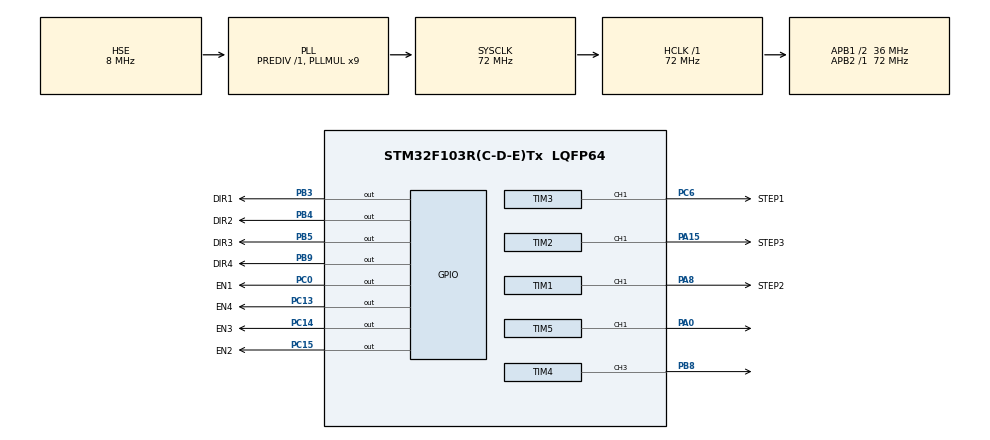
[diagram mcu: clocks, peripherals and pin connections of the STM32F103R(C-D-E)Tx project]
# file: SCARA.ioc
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Mcu.Family=STM32F1
TIM2.Channel-Output\ Compare1\ CH1=TIM_CHANNEL_1
VP_TIM5_VS_ClockSourceINT.Mode=Internal
PC0.GPIO_Label=EN1
PC6.GPIO_Label=STEP1
NVIC.TIM1_UP_IRQn=true\:0\:0\:false\:false\:true\:true\:true
TIM3.Pulse-Output\ Compare1\ CH1=700
PC15-OSC32_OUT.GPIO_Label=EN2
RCC.SYSCLKSource=RCC_SYSCLKSOURCE_PLLCLK
ProjectManager.StackSize=0x400
PD1-OSC_OUT.Signal=RCC_OSC_OUT
PA15.GPIO_Label=STEP3
TIM1.Prescaler=15
RCC.HCLKFreq_Value=72000000
RCC.APB2TimFreq_Value=72000000
RCC.AHBFreq_Value=72000000
TIM4.Pulse-Output\ Compare3\ CH3=700
RCC.PLLMUL=RCC_PLL_MUL9
PA14.Mode=Serial_Wire
TIM3.Prescaler=15
NVIC.TIM2_IRQn=true\:0\:0\:false\:false\:true\:true\:true
PA8.Signal=S_TIM1_CH1
SH.S_TIM3_CH1.0=TIM3_CH1,Output Compare1 CH1
VP_TIM1_VS_ClockSourceINT.Mode=Internal
PB9.Signal=GPIO_Output
Mcu.Package=LQFP64
TIM2.Prescaler=15
TIM2.OCMode_1=TIM_OCMODE_TOGGLE
PA15.Signal=S_TIM2_CH1_ETR
PB5.GPIO_Label=DIR3
RCC.APB1TimFreq_Value=72000000
SH.S_TIM5_CH1.0=TIM5_CH1,PWM Generation1 CH1
PC14-OSC32_IN.GPIO_Label=EN3
VP_TIM3_VS_ClockSourceINT.Mode=Internal
PB4.Signal=GPIO_Output
PB3.GPIO_Label=DIR1
RCC.PLLSourceVirtual=RCC_PLLSOURCE_HSE
PD1-OSC_OUT.Mode=HSE-External-Oscillator
PB9.GPIO_Label=DIR4
PC6.Signal=S_TIM3_CH1
TIM1.OCMode_1=TIM_OCMODE_TOGGLE
PC13-TAMPER-RTC.Signal=GPIO_Output
PD0-OSC_IN.Signal=RCC_OSC_IN
PC0.Signal=GPIO_Output
RCC.APB1CLKDivider=RCC_HCLK_DIV2
PC14-OSC32_IN.Signal=GPIO_Output
TIM5.AutoReloadPreload=TIM_AUTORELOAD_PRELOAD_ENABLE
PA0-WKUP.Signal=S_TIM5_CH1
PA13.Signal=SYS_JTMS-SWDIO
TIM4.Channel-Output\ Compare3\ CH3=TIM_CHANNEL_3
PA8.GPIO_Label=STEP2
SH.S_TIM1_CH1.0=TIM1_CH1,Output Compare1 CH1
ProjectManager.TargetToolchain=MDK-ARM V5.27
SH.S_TIM4_CH3.0=TIM4_CH3,Output Compare3 CH3
TIM4.OCMode_3=TIM_OCMODE_TOGGLE
RCC.USBFreq_Value=72000000
TIM4.Prescaler=15
PC15-OSC32_OUT.Signal=GPIO_Output
TIM3.Channel-Output\ Compare1\ CH1=TIM_CHANNEL_1
PD0-OSC_IN.Mode=HSE-External-Oscillator
NVIC.TIM1_TRG_COM_IRQn=true\:0\:0\:false\:false\:true\:true\:true
board=custom
PC13-TAMPER-RTC.GPIO_Label=EN4
NVIC.TIM3_IRQn=true\:0\:0\:false\:false\:true\:true\:true
RCC.APB2Freq_Value=72000000
PB4.GPIO_Label=DIR2
TIM3.OCMode_1=TIM_OCMODE_TOGGLE
VP_TIM2_VS_ClockSourceINT.Mode=Internal
TIM2.Pulse-Output\ Compare1\ CH1=700
PA13.Mode=Serial_Wire
Mcu.Name=STM32F103R(C-D-E)Tx
NVIC.TIM1_CC_IRQn=true\:0\:0\:false\:false\:true\:true\:true
PB3.Signal=GPIO_Output
RCC.SYSCLKFreq_VALUE=72000000
PB5.Signal=GPIO_Output
TIM5.Prescaler=7199
SH.S_TIM2_CH1_ETR.0=TIM2_CH1,Output Compare1 CH1
TIM5.Channel-PWM\ Generation1\ CH1=TIM_CHANNEL_1
PA14.Signal=SYS_JTCK-SWCLK
NVIC.TIM1_BRK_IRQn=true\:0\:0\:false\:false\:true\:true\:true
ProjectManager.HeapSize=0x200
TIM1.Channel-Output\ Compare1\ CH1=TIM_CHANNEL_1
TIM1.Pulse-Output\ Compare1\ CH1=700
VP_TIM4_VS_ClockSourceINT.Mode=Internal
NVIC.PriorityGroup=NVIC_PRIORITYGROUP_4
PB8.Signal=S_TIM4_CH3
TIM5.Period=200
NVIC.TIM4_IRQn=true\:0\:0\:false\:false\:true\:true\:true
RCC.APB1Freq_Value=36000000

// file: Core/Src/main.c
/* USER CODE BEGIN Header */
/**
  ******************************************************************************
  * @file           : main.c
  * @brief          : Main program body
  ******************************************************************************
  * @attention
  *
  * <h2><center>&copy; Copyright (c) 2020 STMicroelectronics.
  * All rights reserved.</center></h2>
  *
  * This software component is licensed by ST under BSD 3-Clause license,
  * the "License"; You may not use this file except in compliance with the
  * License. You may obtain a copy of the License at:
  *                        opensource.org/licenses/BSD-3-Clause
  *
  ******************************************************************************
  */
/* USER CODE END Header */
#include "main.h"
#include "tim.h"
#include "gpio.h"

/* USER CODE BEGIN Includes */
#include "motor.h"
#include "robot.h"
/* USER CODE END Includes */

/* USER CODE BEGIN PM */
int stop_flag1;//电机1停止标志位
int stop_flag2;//电机2停止标志位
int stop_flag3;//电机3停止标志位
/* USER CODE END PM */

/* USER CODE BEGIN PV */
float fre[ACCELERATED_SPEED_LENGTH1]; //数组存储加速过程中每一步的频率
unsigned short period[ACCELERATED_SPEED_LENGTH1]; //数组储存加速过程中每一步定时器的自动装载值

float fre2[ACCELERATED_SPEED_LENGTH2]; //数组存储加速过程中每一步的频率
unsigned short period2[ACCELERATED_SPEED_LENGTH2]; //数组储存加速过程中每一步定时器的自动装载值

float fre3[ACCELERATED_SPEED_LENGTH2]; //数组存储加速过程中每一步的频率
unsigned short period3[ACCELERATED_SPEED_LENGTH2]; //数组储存加速过程中每一步定时器的自动装载值
/* USER CODE END PV */

void SystemClock_Config(void);

/* USER CODE BEGIN 0 */
void steering_gear(TIM_HandleTypeDef htimx,int TIM_CHANNEL,int y);
void robot_arm(float  x,float y);
void motor_result(float x,float y);
void CalculateSModelLine(float fre_[], unsigned short period_[], float len, float fre_max, float fre_min, float flexible);
void move(float x,float y);
void move0(float x,float y);

void move(float x,float y)
{

	motor_result(x,y);
	CalculateSModelLine(fre,period,ACCELERATED_SPEED_LENGTH1,FRE_MAX,FRE_MIN,4);
	CalculateSModelLine(fre2,period2,ACCELERATED_SPEED_LENGTH2,FRE_MAX,FRE_MIN,4);
	CalculateSModelLine(fre3,period2,ACCELERATED_SPEED_LENGTH2,FRE_MAX,FRE_MIN,4);
	HAL_GPIO_WritePin(GPIOC, EN4_Pin|EN3_Pin|EN2_Pin|EN1_Pin, GPIO_PIN_RESET);
// HAL_GPIO_WritePin(GPIOB, DIR4_Pin, GPIO_PIN_SET);//DIR1 Z轴低电平向无电机一侧转动
// HAL_GPIO_WritePin(GPIOB, DIR2_Pin, GPIO_PIN_SET);//DIR2 大臂高电平逆时针转动
// HAL_GPIO_WritePin(GPIOB, DIR3_Pin, GPIO_PIN_SET);//DIR3 小臂高电平逆时针转动
	//CalculateSModelLine(fre,period,ACCELERATED_SPEED_LENGTH,FRE_MAX,FRE_MIN,4);
  HAL_TIM_Base_Start(&htim1);//启动定时器
	HAL_TIM_Base_Start(&htim2);//启动定时器
	HAL_TIM_Base_Start(&htim3);//启动定时器
	HAL_TIM_Base_Start(&htim4);//启动定时器
	HAL_TIM_OC_Start_IT(&htim1, TIM_CHANNEL_1);//启动定时器8通道1比较输出中断
	HAL_TIM_OC_Start_IT(&htim2, TIM_CHANNEL_1);//启动定时器8通道2比较输出中断
	HAL_TIM_OC_Start_IT(&htim3, TIM_CHANNEL_1);//启动定时器8通道1比较输出中断
	HAL_TIM_OC_Start_IT(&htim4, TIM_CHANNEL_3);//启动定时器8通道2比较输出中断
  HAL_Delay(3000);
}

/* USER CODE END 0 */

int main(void)
{

  /* MCU Configuration--------------------------------------------------------*/

  /* Reset of all peripherals, Initializes the Flash interface and the Systick. */
  HAL_Init();

  /* Configure the system clock */
  SystemClock_Config();

  /* USER CODE BEGIN SysInit */
// HAL_GPIO_WritePin(GPIOB, DIR4_Pin, GPIO_PIN_SET);//DIR1 Z轴低电平向无电机一侧转动
// HAL_GPIO_WritePin(GPIOB, DIR2_Pin, GPIO_PIN_SET);//DIR2 大臂高电平逆时针转动
// HAL_GPIO_WritePin(GPIOB, DIR3_Pin, GPIO_PIN_SET);//DIR3 小臂高电平逆时针转动
  /* USER CODE END SysInit */

  /* Initialize all configured peripherals */
  MX_GPIO_Init();
  MX_TIM1_Init();
  MX_TIM2_Init();
  MX_TIM3_Init();
  MX_TIM4_Init();
  MX_TIM5_Init();
  /* USER CODE BEGIN 2 */
	move(-120,-80);
		move(-120,80);
		move(-80,-80);

//	int j=0;
//		int x1_p[3]={100,120,150};
//		int y1_P[3]={80,80,80};
//		int x2_p[3]={-80,-70,-60};
//		int y2_p[3]={0,-100,-20};
//		for(int j=0;j<3;j++)
//		{
//		move(x1_p[j],y1_P[j]);
//		move(x2_p[j],y2_p[j]);
//		move0(x2_p[j],y2_p[j]);
//		}
  /* USER CODE END 2 */

  /* Infinite loop */
  while (1)
  {

  }
}

void SystemClock_Config(void)
{
  RCC_OscInitTypeDef RCC_OscInitStruct = {0};
  RCC_ClkInitTypeDef RCC_ClkInitStruct = {0};

  /** Initializes the RCC Oscillators according to the specified parameters
  * in the RCC_OscInitTypeDef structure.
  */
  RCC_OscInitStruct.OscillatorType = RCC_OSCILLATORTYPE_HSE;
  RCC_OscInitStruct.HSEState = RCC_HSE_ON;
  RCC_OscInitStruct.HSEPredivValue = RCC_HSE_PREDIV_DIV1;
  RCC_OscInitStruct.HSIState = RCC_HSI_ON;
  RCC_OscInitStruct.PLL.PLLState = RCC_PLL_ON;
  RCC_OscInitStruct.PLL.PLLSource = RCC_PLLSOURCE_HSE;
  RCC_OscInitStruct.PLL.PLLMUL = RCC_PLL_MUL9;
  if (HAL_RCC_OscConfig(&RCC_OscInitStruct) != HAL_OK)
  {
    Error_Handler();
  }
  /** Initializes the CPU, AHB and APB buses clocks
  */
  RCC_ClkInitStruct.ClockType = RCC_CLOCKTYPE_HCLK|RCC_CLOCKTYPE_SYSCLK
                              |RCC_CLOCKTYPE_PCLK1|RCC_CLOCKTYPE_PCLK2;
  RCC_ClkInitStruct.SYSCLKSource = RCC_SYSCLKSOURCE_PLLCLK;
  RCC_ClkInitStruct.AHBCLKDivider = RCC_SYSCLK_DIV1;
  RCC_ClkInitStruct.APB1CLKDivider = RCC_HCLK_DIV2;
  RCC_ClkInitStruct.APB2CLKDivider = RCC_HCLK_DIV1;

  if (HAL_RCC_ClockConfig(&RCC_ClkInitStruct, FLASH_LATENCY_2) != HAL_OK)
  {
    Error_Handler();
  }
}

void Error_Handler(void)
{
}

/************************ (C) COPYRIGHT STMicroelectronics *****END OF FILE****/
